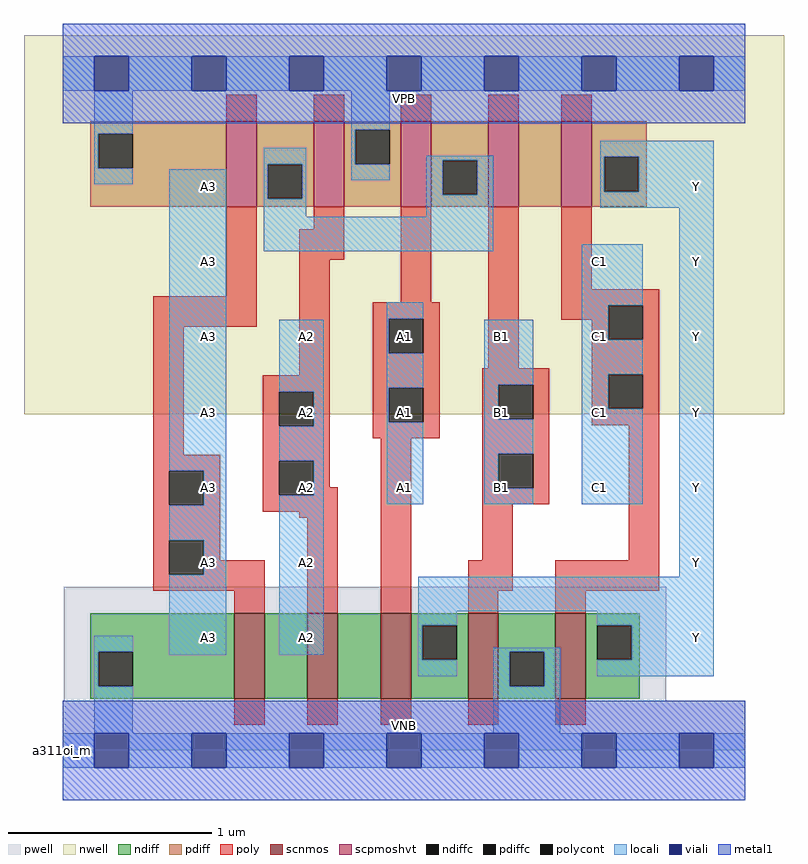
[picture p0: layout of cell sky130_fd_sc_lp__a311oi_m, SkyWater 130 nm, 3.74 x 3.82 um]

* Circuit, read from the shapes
.subckt sky130_fd_sc_lp__a311oi_m A1 A2 A3 B1 C1 VGND VNB VPB VPWR Y
XM1 n1 A3 VGND VNB sky130_fd_pr__nfet_01v8 w=0.42 l=0.15
XM2 n2 A2 n1 VNB sky130_fd_pr__nfet_01v8 w=0.42 l=0.15
XM3 Y A1 n2 VNB sky130_fd_pr__nfet_01v8 w=0.42 l=0.15
XM4 VGND B1 Y VNB sky130_fd_pr__nfet_01v8 w=0.42 l=0.15
XM5 Y C1 VGND VNB sky130_fd_pr__nfet_01v8 w=0.42 l=0.15
XM6 n3 A3 VPWR VPB sky130_fd_pr__pfet_01v8_hvt w=0.42 l=0.15
XM7 VPWR A2 n3 VPB sky130_fd_pr__pfet_01v8_hvt w=0.42 l=0.15
XM8 n3 A1 VPWR VPB sky130_fd_pr__pfet_01v8_hvt w=0.42 l=0.15
XM9 n4 B1 n3 VPB sky130_fd_pr__pfet_01v8_hvt w=0.42 l=0.15
XM10 Y C1 n4 VPB sky130_fd_pr__pfet_01v8_hvt w=0.42 l=0.15
.ends

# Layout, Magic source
magic
tech sky130A
magscale 1 2
<< nwell >>
rect -38 331 710 704
<< pwell >>
rect 1 49 594 161
rect 0 0 672 49
<< scnmos >>
rect 169 51 199 135
rect 241 51 271 135
rect 313 51 343 135
rect 399 51 429 135
rect 485 51 515 135
<< scpmoshvt >>
rect 161 535 191 619
rect 247 535 277 619
rect 333 535 363 619
rect 419 535 449 619
rect 491 535 521 619
<< ndiff >>
rect 27 97 169 135
rect 27 63 35 97
rect 69 63 169 97
rect 27 51 169 63
rect 199 51 241 135
rect 271 51 313 135
rect 343 123 399 135
rect 343 89 354 123
rect 388 89 399 123
rect 343 51 399 89
rect 429 97 485 135
rect 429 63 440 97
rect 474 63 485 97
rect 429 51 485 63
rect 515 123 568 135
rect 515 89 526 123
rect 560 89 568 123
rect 515 51 568 89
<< pdiff >>
rect 27 607 161 619
rect 27 573 35 607
rect 69 573 161 607
rect 27 535 161 573
rect 191 577 247 619
rect 191 543 202 577
rect 236 543 247 577
rect 191 535 247 543
rect 277 611 333 619
rect 277 577 288 611
rect 322 577 333 611
rect 277 535 333 577
rect 363 581 419 619
rect 363 547 374 581
rect 408 547 419 581
rect 363 535 419 547
rect 449 535 491 619
rect 521 584 575 619
rect 521 550 533 584
rect 567 550 575 584
rect 521 535 575 550
<< ndiffc >>
rect 35 63 69 97
rect 354 89 388 123
rect 440 63 474 97
rect 526 89 560 123
<< pdiffc >>
rect 35 573 69 607
rect 202 543 236 577
rect 288 577 322 611
rect 374 547 408 581
rect 533 550 567 584
<< poly >>
rect 161 619 191 645
rect 247 619 277 645
rect 333 619 363 645
rect 419 619 449 645
rect 491 619 521 645
rect 161 447 191 535
rect 247 513 277 535
rect 89 417 191 447
rect 233 483 277 513
rect 89 291 119 417
rect 233 369 263 483
rect 333 441 363 535
rect 197 353 263 369
rect 197 319 213 353
rect 247 319 263 353
rect 89 275 155 291
rect 89 241 105 275
rect 139 241 155 275
rect 89 207 155 241
rect 197 285 263 319
rect 305 425 371 441
rect 305 391 321 425
rect 355 391 371 425
rect 305 357 371 391
rect 419 376 449 535
rect 491 454 521 535
rect 491 438 587 454
rect 491 424 537 438
rect 521 404 537 424
rect 571 404 587 438
rect 305 323 321 357
rect 355 323 371 357
rect 305 307 371 323
rect 413 360 479 376
rect 413 326 429 360
rect 463 326 479 360
rect 197 251 213 285
rect 247 259 263 285
rect 247 251 271 259
rect 197 235 271 251
rect 233 229 271 235
rect 89 173 105 207
rect 139 187 155 207
rect 139 173 199 187
rect 89 157 199 173
rect 169 135 199 157
rect 241 135 271 229
rect 313 135 343 307
rect 413 292 479 326
rect 521 370 587 404
rect 521 336 537 370
rect 571 336 587 370
rect 521 320 587 336
rect 413 258 429 292
rect 463 258 479 292
rect 413 242 479 258
rect 413 187 443 242
rect 557 187 587 320
rect 399 157 443 187
rect 485 157 587 187
rect 399 135 429 157
rect 485 135 515 157
rect 169 25 199 51
rect 241 25 271 51
rect 313 25 343 51
rect 399 25 429 51
rect 485 25 515 51
<< polycont >>
rect 213 319 247 353
rect 105 241 139 275
rect 321 391 355 425
rect 537 404 571 438
rect 321 323 355 357
rect 429 326 463 360
rect 213 251 247 285
rect 105 173 139 207
rect 537 336 571 370
rect 429 258 463 292
<< locali >>
rect 0 649 31 683
rect 65 649 127 683
rect 161 649 223 683
rect 257 649 319 683
rect 353 649 415 683
rect 449 649 511 683
rect 545 649 607 683
rect 641 649 672 683
rect 31 607 69 649
rect 31 573 35 607
rect 284 611 322 649
rect 31 557 69 573
rect 198 577 240 593
rect 105 275 161 572
rect 198 543 202 577
rect 236 543 240 577
rect 284 577 288 611
rect 284 561 322 577
rect 358 581 424 585
rect 198 525 240 543
rect 358 547 374 581
rect 408 547 424 581
rect 358 525 424 547
rect 529 584 641 600
rect 529 550 533 584
rect 567 550 641 584
rect 529 534 641 550
rect 198 491 424 525
rect 319 425 355 441
rect 139 241 161 275
rect 105 207 161 241
rect 139 173 161 207
rect 31 97 69 113
rect 31 63 35 97
rect 105 94 161 173
rect 213 353 257 424
rect 247 319 257 353
rect 213 285 257 319
rect 247 251 257 285
rect 213 94 257 251
rect 319 391 321 425
rect 511 438 571 498
rect 319 357 355 391
rect 319 323 321 357
rect 319 242 355 323
rect 415 360 463 424
rect 415 326 429 360
rect 415 292 463 326
rect 415 258 429 292
rect 415 242 463 258
rect 511 404 537 438
rect 511 370 571 404
rect 511 336 537 370
rect 511 242 571 336
rect 607 171 641 534
rect 350 137 641 171
rect 350 123 388 137
rect 350 89 354 123
rect 526 123 641 137
rect 350 73 388 89
rect 424 97 490 101
rect 31 17 69 63
rect 424 63 440 97
rect 474 63 490 97
rect 560 89 641 123
rect 526 73 641 89
rect 424 17 490 63
rect 0 -17 31 17
rect 65 -17 127 17
rect 161 -17 223 17
rect 257 -17 319 17
rect 353 -17 415 17
rect 449 -17 511 17
rect 545 -17 607 17
rect 641 -17 672 17
<< viali >>
rect 31 649 65 683
rect 127 649 161 683
rect 223 649 257 683
rect 319 649 353 683
rect 415 649 449 683
rect 511 649 545 683
rect 607 649 641 683
rect 31 -17 65 17
rect 127 -17 161 17
rect 223 -17 257 17
rect 319 -17 353 17
rect 415 -17 449 17
rect 511 -17 545 17
rect 607 -17 641 17
<< metal1 >>
rect 0 683 672 715
rect 0 649 31 683
rect 65 649 127 683
rect 161 649 223 683
rect 257 649 319 683
rect 353 649 415 683
rect 449 649 511 683
rect 545 649 607 683
rect 641 649 672 683
rect 0 617 672 649
rect 0 17 672 49
rect 0 -17 31 17
rect 65 -17 127 17
rect 161 -17 223 17
rect 257 -17 319 17
rect 353 -17 415 17
rect 449 -17 511 17
rect 545 -17 607 17
rect 641 -17 672 17
rect 0 -49 672 -17
<< labels >>
flabel pwell s 0 0 672 49 0 FreeSans 200 0 0 0 VNB
port 7 nsew ground bidirectional
flabel nwell s 0 617 672 666 0 FreeSans 200 0 0 0 VPB
port 8 nsew power bidirectional
rlabel comment s 0 0 0 0 4 a311oi_m
flabel metal1 s 0 617 672 666 0 FreeSans 340 0 0 0 VPWR
port 9 nsew power bidirectional
flabel metal1 s 0 0 672 49 0 FreeSans 340 0 0 0 VGND
port 6 nsew ground bidirectional
flabel locali s 319 242 353 276 0 FreeSans 340 0 0 0 A1
port 1 nsew signal input
flabel locali s 319 316 353 350 0 FreeSans 340 0 0 0 A1
port 1 nsew signal input
flabel locali s 319 390 353 424 0 FreeSans 340 0 0 0 A1
port 1 nsew signal input
flabel locali s 223 94 257 128 0 FreeSans 340 0 0 0 A2
port 2 nsew signal input
flabel locali s 223 168 257 202 0 FreeSans 340 0 0 0 A2
port 2 nsew signal input
flabel locali s 223 242 257 276 0 FreeSans 340 0 0 0 A2
port 2 nsew signal input
flabel locali s 223 316 257 350 0 FreeSans 340 0 0 0 A2
port 2 nsew signal input
flabel locali s 223 390 257 424 0 FreeSans 340 0 0 0 A2
port 2 nsew signal input
flabel locali s 127 94 161 128 0 FreeSans 340 0 0 0 A3
port 3 nsew signal input
flabel locali s 127 168 161 202 0 FreeSans 340 0 0 0 A3
port 3 nsew signal input
flabel locali s 127 242 161 276 0 FreeSans 340 0 0 0 A3
port 3 nsew signal input
flabel locali s 127 316 161 350 0 FreeSans 340 0 0 0 A3
port 3 nsew signal input
flabel locali s 127 390 161 424 0 FreeSans 340 0 0 0 A3
port 3 nsew signal input
flabel locali s 127 464 161 498 0 FreeSans 340 0 0 0 A3
port 3 nsew signal input
flabel locali s 127 538 161 572 0 FreeSans 340 0 0 0 A3
port 3 nsew signal input
flabel locali s 415 242 449 276 0 FreeSans 340 0 0 0 B1
port 4 nsew signal input
flabel locali s 415 316 449 350 0 FreeSans 340 0 0 0 B1
port 4 nsew signal input
flabel locali s 415 390 449 424 0 FreeSans 340 0 0 0 B1
port 4 nsew signal input
flabel locali s 511 242 545 276 0 FreeSans 340 0 0 0 C1
port 5 nsew signal input
flabel locali s 511 316 545 350 0 FreeSans 340 0 0 0 C1
port 5 nsew signal input
flabel locali s 511 390 545 424 0 FreeSans 340 0 0 0 C1
port 5 nsew signal input
flabel locali s 511 464 545 498 0 FreeSans 340 0 0 0 C1
port 5 nsew signal input
flabel locali s 607 94 641 128 0 FreeSans 340 0 0 0 Y
port 10 nsew signal output
flabel locali s 607 168 641 202 0 FreeSans 340 0 0 0 Y
port 10 nsew signal output
flabel locali s 607 242 641 276 0 FreeSans 340 0 0 0 Y
port 10 nsew signal output
flabel locali s 607 316 641 350 0 FreeSans 340 0 0 0 Y
port 10 nsew signal output
flabel locali s 607 390 641 424 0 FreeSans 340 0 0 0 Y
port 10 nsew signal output
flabel locali s 607 464 641 498 0 FreeSans 340 0 0 0 Y
port 10 nsew signal output
flabel locali s 607 538 641 572 0 FreeSans 340 0 0 0 Y
port 10 nsew signal output
<< properties >>
string LEFsite unit
string LEFclass CORE
string FIXED_BBOX 0 0 672 666
string GDS_FILE $PDKPATH/libs.ref/sky130_fd_sc_lp/gds/sky130_fd_sc_lp.gds
string LEFsymmetry X Y R90
string GDS_END 3218326
string GDS_START 3209474
<< end >>
